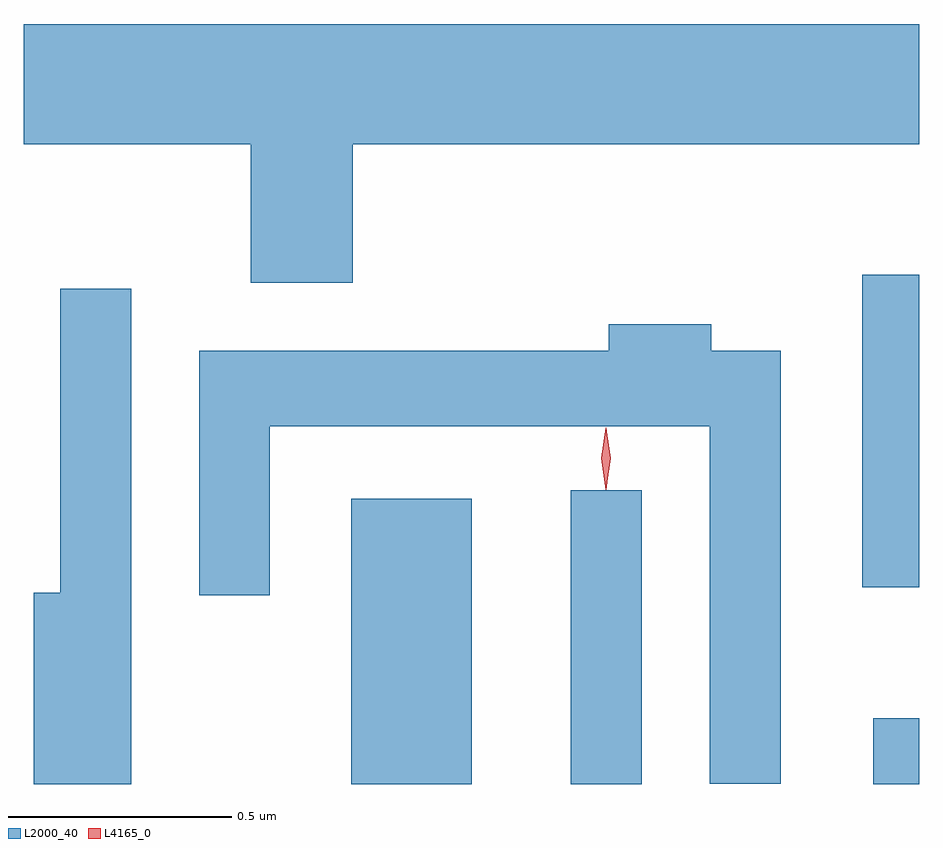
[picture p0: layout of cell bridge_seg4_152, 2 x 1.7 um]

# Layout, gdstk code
import gdstk
lib = gdstk.Library(unit=1e-6, precision=1e-09)
def R(c, l, rs):  # rectangles x0, y0, x1, y1
    for r in rs: c.add(gdstk.rectangle(r[:2], r[2:], *l))
def P(c, l, *ps):  # polygons
    for p in ps: c.add(gdstk.Polygon(p, *l))
L2000_40 = (2000, 40)
L4165_0 = (4165, 0)

bridge_seg4_152 = lib.new_cell('bridge_seg4_152')
R(bridge_seg4_152, L2000_40, [(936.396,1315.507,936.664,1316.144), (936.886,1315.507,937.044,1316.163), (937.561,1315.507,937.664,1315.654), (937.536,1315.946,937.664,1316.644)])
P(bridge_seg4_152, L2000_40, [(936.399,1316.936),(937.664,1316.936),(937.664,1317.204),(935.664,1317.204),(935.664,1316.936),(936.171,1316.936),(936.171,1316.626),(936.399,1316.626)],
  [(935.904,1316.613),(935.746,1316.613),(935.746,1315.934),(935.686,1315.934),(935.686,1315.507),(935.904,1315.507)],
  [(937.354,1316.474),(937.199,1316.474),(937.199,1316.534),(936.971,1316.534),(936.971,1316.474),(936.056,1316.474),(936.056,1315.928),(936.214,1315.928),(936.214,1316.306),(937.196,1316.306),(937.196,1315.508),(937.354,1315.508)])
P(bridge_seg4_152, L4165_0, [(936.964,1316.164),(936.964,1316.164),(936.954,1316.234),(936.964,1316.302),(936.964,1316.303),(936.965,1316.302),(936.974,1316.234),(936.965,1316.164)],
  [(936.964,1316.167),(936.955,1316.234),(936.964,1316.3),(936.965,1316.3),(936.965,1316.3),(936.975,1316.234),(936.965,1316.167),(936.965,1316.167)])

lib.write_gds('bridge_seg4_152.gds')
